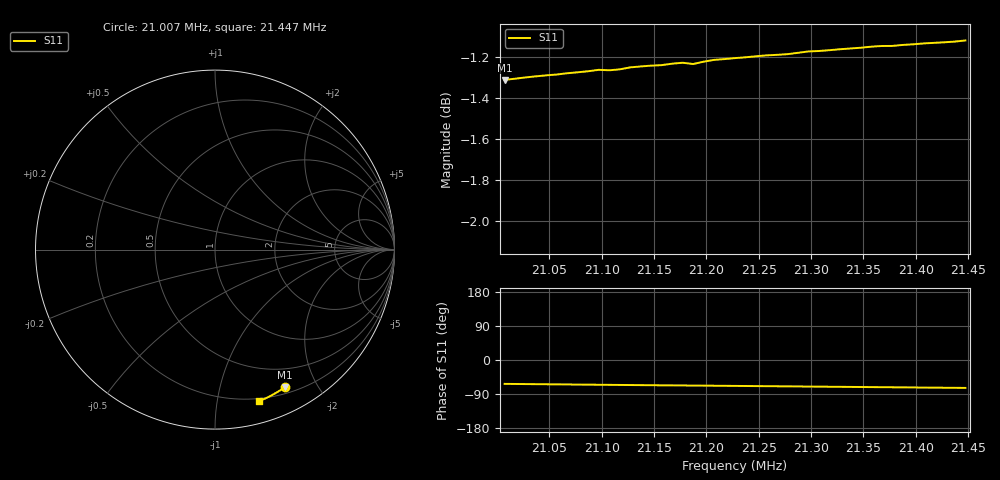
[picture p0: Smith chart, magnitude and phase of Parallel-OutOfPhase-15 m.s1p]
# HZ S RI R 50
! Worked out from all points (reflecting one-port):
!   45 points, 21.007 MHz to 21.447 MHz, reference 50 ohm
!   lowest |S11| = -1.3 dB at 21.007 MHz (marker M1), VSWR 13.27, Z = 13.6 - j79.9 ohm
!   phase of S11 starts at -63 deg and turns -11 deg over the sweep
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2.10072e7  0.3903 -0.7661
2.102721e7  0.3837 -0.7707
2.106722e7  0.3707 -0.7794
2.109724e7  0.3609 -0.7858
2.110724e7  0.3573 -0.7871
2.111724e7  0.354 -0.7891
2.112725e7  0.3511 -0.7915
2.114726e7  0.3448 -0.7952
2.115726e7  0.3414 -0.7969
2.116726e7  0.3386 -0.7988
2.117727e7  0.3353 -0.8007
2.118727e7  0.3343 -0.8005
2.119728e7  0.3314 -0.8029
2.120728e7  0.3273 -0.8055
2.122729e7  0.3207 -0.8091
2.12573e7  0.311 -0.8143
2.127731e7  0.3043 -0.8175
2.128731e7  0.3011 -0.8194
2.129732e7  0.2978 -0.8213
2.133733e7  0.2845 -0.8275
2.135734e7  0.2779 -0.8307
2.136734e7  0.2746 -0.8321
2.137735e7  0.2709 -0.8334
2.139736e7  0.2642 -0.8364
2.140736e7  0.2607 -0.8379
2.141736e7  0.2572 -0.8393
2.143737e7  0.2504 -0.842
2.144738e7  0.2471 -0.8435
